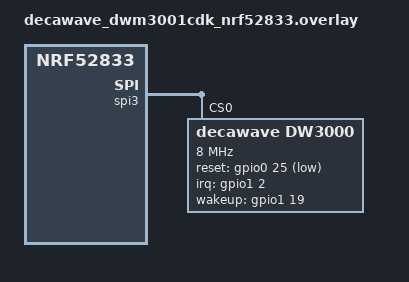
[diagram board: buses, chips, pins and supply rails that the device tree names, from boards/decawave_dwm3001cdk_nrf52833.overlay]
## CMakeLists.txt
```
# Copyright (c) 2026 Infinity Stumps
# SPDX-License-Identifier: Apache-2.0
#
# Phase 1.0 firmware-bringup app: initialise the DW3110 and read its
# device ID over SPI. This is the smoke test for the whole hardware
# stack (board overlay, SPI bus, br101's DW3000 Zephyr driver). Once
# this prints the expected ID, full DS-TWR ranging is just app logic.

cmake_minimum_required(VERSION 3.20.0)
find_package(Zephyr REQUIRED HINTS $ENV{ZEPHYR_BASE})
project(ranging_test LANGUAGES C)

target_sources(app PRIVATE src/main.c)
```

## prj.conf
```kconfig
# Console / logging
CONFIG_PRINTK=y
CONFIG_BOOT_BANNER=y
CONFIG_LOG=y
CONFIG_LOG_DEFAULT_LEVEL=3

# Hardware needed by the DW3000 driver
CONFIG_SPI=y
CONFIG_GPIO=y

# br101's DW3000 driver — DW3110 is the DW3000 family
CONFIG_DW3000=y
CONFIG_DW3000_CHIP_DW3000=y

# Comfortable main stack
CONFIG_MAIN_STACK_SIZE=4096
```

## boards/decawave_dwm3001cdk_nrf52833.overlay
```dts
/*
 * Copyright (c) 2026 Infinity Stumps
 * SPDX-License-Identifier: Apache-2.0
 *
 * DWM3001CDK overlay adding the DW3110 UWB chip as a child of SPI3.
 *
 * Internal nRF52833 <-> DW3110 wiring inside the DWM3001C module
 * (from Qorvo's reference firmware custom_board.h):
 *
 *   SCK   = P0.3   (declared in board pinctrl)
 *   MOSI  = P0.8   (declared in board pinctrl)
 *   MISO  = P0.29  (declared in board pinctrl)
 *   CS    = P1.6   (declared as cs-gpios in board.dts)
 *   IRQ   = P1.2   <-- added here
 *   RESET = P0.25  <-- added here
 *   WAKEUP= P1.19  <-- added here
 */

#include <zephyr/dt-bindings/gpio/gpio.h>

&spi3 {
	status = "okay";

	dw3000: dw3000@0 {
		compatible = "decawave,dw3000";
		reg = <0>;
		spi-max-frequency = <8000000>;
		reset-gpios  = <&gpio0 25 GPIO_ACTIVE_LOW>;
		irq-gpios    = <&gpio1  2 GPIO_ACTIVE_HIGH>;
		wakeup-gpios = <&gpio1 19 GPIO_ACTIVE_HIGH>;
	};
};
```

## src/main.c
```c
/*
 * Copyright (c) 2026 Infinity Stumps
 * SPDX-License-Identifier: Apache-2.0
 *
 * Phase 1.0 firmware-bringup smoke test.
 *
 * Initialise the DW3110 over SPI via br101's Zephyr DW3000 driver,
 * walk it through the canonical Qorvo init sequence
 * (hw reset -> dwt_probe -> wait for IDLE_RC -> dwt_initialise),
 * then read the chip's 32-bit device ID. A correct read proves the
 * whole hardware path works end to end: board overlay, SPI3,
 * CS/IRQ/RESET pins, the driver's platform layer, the Qorvo API.
 *
 * Expected device ID for the DW3110 on the DWM3001C: 0xDECA0302.
 */

#include <zephyr/kernel.h>
#include <zephyr/sys/printk.h>

#include <dw3000_hw.h>
#include <deca_device_api.h>
#include <deca_probe_interface.h>

int main(void)
{
	printk("\n=== Infinity Stumps ranging-test ===\n");
	printk("Board: %s\n", CONFIG_BOARD);

	printk("dw3000_hw_init... ");
	int ret = dw3000_hw_init();
	if (ret < 0) {
		printk("FAILED (%d)\n", ret);
		return ret;
	}
	printk("OK\n");

	printk("dw3000_hw_reset...\n");
	dw3000_hw_reset();
	k_msleep(2);

	printk("dwt_probe...\n");
	int32_t rc = dwt_probe((struct dwt_probe_s *)&dw3000_probe_interf);
	printk("  -> %d\n", rc);

	printk("waiting for IDLE_RC...\n");
	int timeout_ms = 200;
	while (!dwt_checkidlerc() && timeout_ms-- > 0) {
		k_msleep(1);
	}
	if (timeout_ms <= 0) {
		printk("  TIMEOUT — chip didn't reach IDLE_RC state\n");
	} else {
		printk("  IDLE_RC reached\n");

		printk("dwt_initialise... ");
		if (dwt_initialise(DWT_DW_INIT) == DWT_ERROR) {
			printk("FAILED\n");
		} else {
			printk("OK\n");
		}
	}

	uint32_t devid = dwt_readdevid();
	printk("\nDW3110 device ID: 0x%08x  (expected 0xDECA0302)\n", devid);

	if (devid == 0xDECA0302) {
		printk("PASS — chip is talking to us.\n");
	} else {
		printk("FAIL — unexpected ID, check wiring / overlay.\n");
	}

	while (1) {
		k_sleep(K_SECONDS(10));
	}

	return 0;
}
```
